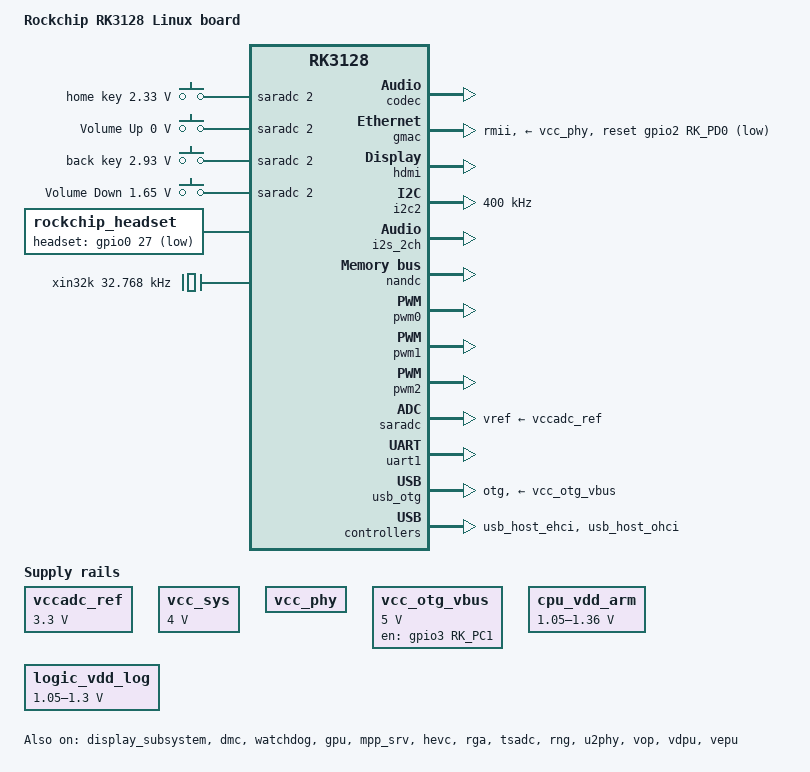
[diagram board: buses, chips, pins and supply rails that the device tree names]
// SPDX-License-Identifier: (GPL-2.0+ OR MIT)
/*
 * Copyright (c) 2019 Fuzhou Rockchip Electronics Co., Ltd
 */

/dts-v1/;
#include <dt-bindings/gpio/gpio.h>
#include <dt-bindings/input/input.h>
#include <dt-bindings/pinctrl/rockchip.h>
#include <dt-bindings/pwm/pwm.h>
#include <dt-bindings/sensor-dev.h>
#include "rk3128.dtsi"
#include "rk312x-android.dtsi"

/ {
	model = "Rockchip RK3128 Linux board";
	compatible = "rockchip,rk3128";

	chosen {
		stdout-path = "serial1:115200n8";
	};

	fiq-debugger {
		status = "disabled";
	};

	adc-keys {
		compatible = "adc-keys";
		io-channels = <&saradc 2>;
		io-channel-names = "buttons";
		poll-interval = <100>;
		keyup-threshold-microvolt = <3300000>;

		home-key{
			label = "home key";
			linux,code = <KEY_HOMEPAGE>;
			press-threshold-microvolt = <2330000>;
		};

		button-up {
			label = "Volume Up";
			linux,code = <KEY_VOLUMEUP>;
			press-threshold-microvolt = <0>;
		};

		back-key{
			label = "back key";
			linux,code = <KEY_BACK>;
			press-threshold-microvolt = <2930000>;
		};
		button-down {
			label = "Volume Down";
			linux,code = <KEY_VOLUMEDOWN>;
			press-threshold-microvolt = <1650000>;
		};
	};

	rockchip_headset {
		compatible = "rockchip_headset";
		headset_gpio = <&gpio0 27 GPIO_ACTIVE_LOW>;
	};

	sound {
		compatible = "simple-audio-card";
		simple-audio-card,format = "i2s";
		simple-audio-card,mclk-fs = <256>;
		simple-audio-card,name = "rockchip,rk312x";
		simple-audio-card,cpu {
			sound-dai = <&i2s_2ch>;
		};
		simple-audio-card,codec {
			sound-dai = <&codec>;
		};
	};

	vccadc_ref: vccadc-ref {
		compatible = "regulator-fixed";
		regulator-name = "SARADC_AVDD33";
		regulator-always-on;
		regulator-boot-on;
		regulator-min-microvolt = <3300000>;
		regulator-max-microvolt = <3300000>;
	};

	vcc_sys: vcc-sys {
		compatible = "regulator-fixed";
		regulator-name = "vcc_sys";
		regulator-min-microvolt = <4000000>;
		regulator-max-microvolt = <4000000>;
		regulator-always-on;
	};

	vcc_phy: vcc-phy-regulator {
		compatible = "regulator-fixed";
		regulator-name = "vcc_phy";
		regulator-always-on;
		regulator-boot-on;
	};

	vcc_otg_vbus: otg-vbus-regulator {
		compatible = "regulator-fixed";
		regulator-name = "vcc_otg_vbus";
		regulator-min-microvolt = <5000000>;
		regulator-max-microvolt = <5000000>;
		enable-active-high;
		gpio = <&gpio3 RK_PC1 GPIO_ACTIVE_HIGH>;
		pinctrl-names = "default";
		pinctrl-0 = <&otg_vbus_drv>;
	};

	/*
	 * This board follows the RK322x-style power tree for the CPU/GPU
	 * rails: both are driven directly from PWM regulators, not an RK816.
	 */
	cpu_vdd_arm: vdd-arm-regulator {
		compatible = "pwm-regulator";
		rockchip,pwm_id = <1>;
		regulator-init-microvolt = <1200000>;
		regulator-early-min-microvolt = <1200000>;
		pwms = <&pwm1 0 25000 1>;
		regulator-name = "vdd_arm";
		regulator-min-microvolt = <1050000>;
		regulator-max-microvolt = <1360000>;
		regulator-ramp-delay = <12500>;
		regulator-settling-time-up-us = <250>;
		regulator-always-on;
		regulator-boot-on;
	};

	logic_vdd_log: vdd-log-regulator {
		compatible = "pwm-regulator";
		rockchip,pwm_id = <2>;
		rockchip,pwm_voltage = <1200000>;
		pwms = <&pwm2 0 25000 1>;
		regulator-name = "vdd_log";
		regulator-min-microvolt = <1050000>;
		regulator-max-microvolt = <1300000>;
		regulator-ramp-delay = <12500>;
		regulator-settling-time-up-us = <250>;
		regulator-always-on;
		regulator-boot-on;
	};
	
	xin32k: xin32k {
		compatible = "fixed-clock";
		clock-frequency = <32768>;
		clock-output-names = "xin32k";
		#clock-cells = <0>;
	};

	wireless-bluetooth {
		compatible = "bluetooth-platdata";

		uart_rts-gpios = <&gpio1 11 GPIO_ACTIVE_LOW>; /* GPIO1_B3 */
		pinctrl-names = "default","rts_gpio";
		pinctrl-0 = <&uart1_rts>;
		pinctrl-1 = <&uart1_rts_gpio>;
		BT,reset-gpios = <&gpio0 1 GPIO_ACTIVE_HIGH>; /* GPIO2_B1 */
		status = "disabled";
	};

};

&codec {
	#sound-dai-cells = <0>;
	spk-ctl-gpios = <&gpio2 9 GPIO_ACTIVE_HIGH>;
	spk-mute-delay = <200>;
	hp-mute-delay = <100>;
	is_rk3128 = <1>;
	spk_volume = <25>;
	hp_volume = <25>;
	capture_volume = <26>;
	gpio_debug = <1>;
	codec_hp_det = <0>;
	status = "okay";
};

&cpu0 {
	cpu-supply = <&cpu_vdd_arm>;
	clock-frequency = <1200000000>;
};

&cpu1 {
	clock-frequency = <1200000000>;
};

&cpu2 {
	clock-frequency = <1200000000>;
};

&cpu3 {
	clock-frequency = <1200000000>;
};

/*
 * Keep the RK3128 board's CPU DVFS table local to this DTS so the
 * frequencies and voltages stay aligned with the board's PWM CPU rail.
 * Keep this board on fixed, non-binned voltages and keep the low
 * frequency states above the RK3128 datasheet minimum.
 */
&cpu0_opp_table {
	/delete-property/ rockchip,leakage-scaling-sel;
	/delete-property/ rockchip,leakage-voltage-sel;

	/delete-node/ opp-696000000;

	opp-216000000 {
		opp-microvolt = <1050000 1050000 1360000>;
		opp-microvolt-L0 = <1050000 1050000 1360000>;
		opp-microvolt-L1 = <1050000 1050000 1360000>;
		opp-microvolt-L2 = <1050000 1050000 1360000>;
	};

	opp-408000000 {
		opp-microvolt = <1050000 1050000 1360000>;
		opp-microvolt-L0 = <1050000 1050000 1360000>;
		opp-microvolt-L1 = <1050000 1050000 1360000>;
		opp-microvolt-L2 = <1050000 1050000 1360000>;
	};

	opp-600000000 {
		opp-microvolt = <1100000 1100000 1360000>;
		opp-microvolt-L0 = <1100000 1100000 1360000>;
		opp-microvolt-L1 = <1100000 1100000 1360000>;
		opp-microvolt-L2 = <1100000 1100000 1360000>;
	};

	opp-816000000 {
		opp-microvolt = <1200000 1200000 1360000>;
		opp-microvolt-L0 = <1200000 1200000 1360000>;
		opp-microvolt-L1 = <1200000 1200000 1360000>;
		opp-microvolt-L2 = <1200000 1200000 1360000>;
	};

	opp-1008000000 {
		opp-microvolt = <1200000 1200000 1360000>;
		opp-microvolt-L0 = <1200000 1200000 1360000>;
		opp-microvolt-L1 = <1200000 1200000 1360000>;
		opp-microvolt-L2 = <1200000 1200000 1360000>;
	};

	opp-1200000000 {
		opp-microvolt = <1350000 1350000 1360000>;
		opp-microvolt-L0 = <1350000 1350000 1360000>;
		opp-microvolt-L1 = <1350000 1350000 1360000>;
		opp-microvolt-L2 = <1350000 1350000 1360000>;
	};

};

/*
 * Avoid fixed CMA address from rk312x-android.dtsi which can overlap initrd
 * (seen as bad_page during free_initrd). Let kernel place CMA dynamically.
 *
 * Keep the base board DTB lean for headless/server use. Larger CMA pools for
 * video/display experiments should be enabled through an overlay instead.
 */
&cma_region {
	/delete-property/ reg;
	size = <0x01000000>;
	alignment = <0x2000>;
	linux,cma-default;
};

&cif_new {
	status = "disabled";
};

&display_subsystem {
	/delete-property/ logo-memory-region;
	status = "okay";

	route {
		route_hdmi: route-hdmi {
			status = "okay";
			logo,uboot = "logo.bmp";
			logo,kernel = "logo_kernel.bmp";
			logo,mode = "center";
			charge_logo,mode = "center";
			connect = <&vop_out_hdmi>;
		};
	};
};

&dmc {
	center-supply = <&logic_vdd_log>;
	status = "okay";
};

&emmc {
	bus-width = <8>;
	cap-mmc-highspeed;
	supports-emmc;
	disable-wp;
	non-removable;
	no-sd;
	no-sdio;
	num-slots = <1>;
	pinctrl-names = "default";
	pinctrl-0 = <&emmc_clk &emmc_cmd &emmc_bus8>;
	status = "disabled";
};

&watchdog {
	status = "okay";
};

&gmac {
	assigned-clocks = <&cru SCLK_MAC_SRC>;
	assigned-clock-rates = <50000000>;
	clock_in_out = "output";
	max-speed = <100>;
	pinctrl-names = "default";
	pinctrl-0 = <&rmii_pins>;
	phy-supply = <&vcc_phy>;
	phy-mode = "rmii";
	snps,reset-active-low;
	snps,reset-delays-us = <0 10000 50000>;
	snps,reset-gpio = <&gpio2 RK_PD0 GPIO_ACTIVE_LOW>;
	tx_delay = <0>;
	rx_delay = <0>;
	status = "okay";
};

/*
 * Keep this generic TV-box DTB portable across RK3128 boards whose external
 * RMII PHYs are strapped to different MDIO addresses.  Without an explicit
 * phy-handle or MDIO child, stmmac scans the bus and attaches the first PHY it
 * finds, matching the behavior of the working 4.4 kernel DTB.
 */
/delete-node/ &mdio;

&gpu {
	status = "okay";
	mali-supply = <&logic_vdd_log>;
};

/*
 * The shared logic PWM rail on this board bottoms out at 1.05V, so keep the
 * lowest GPU OPP aligned with that floor to avoid rejecting the 200MHz state
 * during OPP/regulator validation.
 */
&gpu_opp_table {
	opp-200000000 {
		opp-microvolt = <1050000>;
	};
};

&hdmi {
	#sound-dai-cells = <0>;
	rockchip,format = "i2s";
	status = "okay";
};

&mpp_srv {
	status = "okay";
};

&hevc {
	status = "okay";
};

&hevc_mmu {
	status = "okay";
};

&i2c2 {
	status = "okay";
	clock-frequency = <400000>;

	gc0312@21 {
		status = "disabled";
		compatible = "galaxycore,gc0312";
		reg = <0x21>;

		clocks = <&cru SCLK_CIF_OUT>;
		clock-names = "xvclk";

		avdd-supply = <&vcc28_cif>;
		dovdd-supply = <&vcc18_cif>;
		dvdd-supply = <&vcc18_cif>;

		pwdn-gpios = <&gpio3 RK_PB3 GPIO_ACTIVE_HIGH>;
		pwndpmu-supply = <&ldo4>;
	};

	gc2145@3c {
		status = "disabled";
		compatible = "galaxycore,gc2145";
		reg = <0x3c>;

		clocks = <&cru SCLK_CIF_OUT>;
		clock-names = "xvclk";

		avdd-supply = <&vcc28_cif>;
		dovdd-supply = <&vcc18_cif>;
		dvdd-supply = <&vcc18_cif>;
	};

	ts@40 {
		compatible = "gslX680-d708";
		reg = <0x40>;
		touch-gpio = <&gpio0 2 IRQ_TYPE_LEVEL_HIGH>;
		screen_max_x = <800>;
		screen_max_y = <480>;
		revert_x = <1>;
		status = "disabled";
	};
	sensor7660@1d {
		compatible = "gs_sc7660";
		reg = <0x1d>;
		type = <SENSOR_TYPE_ACCEL>;
		irq_enable = <0>;
		poll_delay_ms = <30>;
		layout = <7>;
		revert_x = <0>;
		revert_y = <0>;
		revert_z = <0>;
		status = "disabled";
	};

	sensor7a20@19 {
		compatible = "gs_sc7a20";
		reg = <0x19>;
		type = <SENSOR_TYPE_ACCEL>;
		irq_enable = <0>;
		poll_delay_ms = <30>;
		layout = <7>;
		revert_x = <0>;
		revert_y = <0>;
		revert_z = <0>;
		status = "disabled";
	};

	rk816: pmic@1a {
		compatible = "rockchip,rk816";
		reg = <0x1a>;
		status = "disabled";
		interrupt-parent = <&gpio0>;
		interrupts = <0 IRQ_TYPE_LEVEL_LOW>;
		pinctrl-names = "default";
		pinctrl-0 = <&pmic_int_l>;
		rockchip,system-power-controller;
		wakeup-source;
		gpio-controller;
		#gpio-cells = <2>;
		#clock-cells = <1>;
		clock-output-names = "rk816-clkout1", "rk816-clkout2";
		extcon = <&u2phy>;

		vcc1-supply = <&vcc_sys>;
		vcc2-supply = <&vcc_sys>;
		vcc3-supply = <&vcc_sys>;
		vcc4-supply = <&vcc_sys>;
		vcc5-supply = <&vcc_io>;
		vcc6-supply = <&vcc_sys>;

		gpio {
			status = "okay";
		};

		pwrkey {
			status = "okay";
		};

		rtc {
			status = "okay";
		};

		battery {
			compatible = "rk816-battery";
			ocv_table = < 3500 3625 3685 3697 3718 3735 3748
					3760 3774 3788 3802 3816 3834 3853
					3877 3908 3946 3975 4018 4071 4106>;
			design_capacity = <2500>;
			design_qmax = <2750>;
			bat_res = <100>;
			max_input_current = <1500>;
			max_chrg_current = <1300>;
			max_chrg_voltage = <4200>;
			sleep_enter_current = <300>;
			sleep_exit_current = <300>;
			sleep_filter_current = <100>;
			power_off_thresd = <3500>;
			zero_algorithm_vol = <3850>;
			max_soc_offset = <60>;
			monitor_sec = <5>;
			virtual_power = <0>;
			power_dc2otg = <0>;
			dc_det_adc = <0>;
		};

		regulators {

			vdd_arm: DCDC_REG1{
				regulator-name= "vdd_arm";
				regulator-min-microvolt = <750000>;
				regulator-max-microvolt = <1500000>;
				regulator-ramp-delay = <6001>;
				regulator-initial-mode = <1>;
				regulator-always-on;
				regulator-boot-on;
				regulator-state-mem {
					regulator-off-in-suspend;
					regulator-suspend-microvolt = <900000>;
				};
			};

			vdd_log: DCDC_REG2 {
				regulator-name= "vdd_logic";
				regulator-min-microvolt = <750000>;
				regulator-max-microvolt = <1500000>;
				regulator-ramp-delay = <6001>;
				regulator-initial-mode = <1>;
				regulator-always-on;
				regulator-boot-on;
				regulator-state-mem {
					regulator-on-in-suspend;
					regulator-suspend-microvolt = <1000000>;
				};
			};

			vcc_ddr: DCDC_REG3 {
				regulator-name = "vcc_ddr";
				regulator-always-on;
				regulator-boot-on;
				regulator-initial-mode = <1>;
			};

			vcc_io: DCDC_REG4 {
				regulator-name = "vcc_io";
				regulator-min-microvolt = <3300000>;
				regulator-max-microvolt = <3300000>;
				regulator-initial-mode = <1>;
				regulator-always-on;
				regulator-boot-on;
				regulator-state-mem {
					regulator-on-in-suspend;
					regulator-suspend-microvolt = <3000000>;
				};
			};

			vcc28_cif: LDO_REG1 {
				regulator-name = "vcc28_cif";
				regulator-min-microvolt = <2800000>;
				regulator-max-microvolt = <2800000>;
				regulator-always-on;
				regulator-boot-on;
				regulator-state-mem {
					regulator-off-in-suspend;
				};
			};

			vcc18_cif: LDO_REG2 {
				regulator-name = "vcc18_cif";
				regulator-min-microvolt = <1800000>;
				regulator-max-microvolt = <1800000>;
				regulator-always-on;
				regulator-boot-on;
				regulator-state-mem {
					regulator-off-in-suspend;
				};
			};

			vdd_11: LDO_REG3 {
				regulator-name = "vdd_11";
				regulator-min-microvolt = <1100000>;
				regulator-max-microvolt = <1100000>;
				regulator-always-on;
				regulator-boot-on;
				regulator-state-mem {
					regulator-on-in-suspend;
					regulator-suspend-microvolt = <1100000>;
				};
			};

			ldo4: LDO_REG4 {
				regulator-name= "ldo4";
				regulator-min-microvolt = <3000000>;
				regulator-max-microvolt = <3000000>;
				regulator-state-mem {
					regulator-off-in-suspend;
				};
			};

			ldo5: LDO_REG5 {
				regulator-name= "ldo5";
				regulator-min-microvolt = <3000000>;
				regulator-max-microvolt = <3000000>;
				regulator-always-on;
				regulator-boot-on;
				regulator-state-mem {
					regulator-on-in-suspend;
				};
			};

			ldo6: LDO_REG6 {
				regulator-name= "ldo6";
				regulator-min-microvolt = <3300000>;
				regulator-max-microvolt = <3300000>;
				regulator-state-mem {
					regulator-on-in-suspend;
					regulator-suspend-microvolt = <3300000>;
				};
			};
		};
	};
};

&i2s_2ch {
	#sound-dai-cells = <0>;
	status = "okay";
};

&iep {
	status = "disabled";
};

&iep_mmu {
	status = "disabled";
};

&nandc {
	status = "okay";
};

&pinctrl {
	pmic {
		pmic_int_l: pmic-int-l {
			rockchip,pins =
				<0 RK_PA0 RK_FUNC_GPIO &pcfg_pull_default>;
		};
	};

	usb {
		otg_vbus_drv: otg-vbus-drv {
			rockchip,pins =
				<3 RK_PC1 RK_FUNC_GPIO &pcfg_pull_none>;
		};
	};

	wireless-bluetooth {
		uart1_rts_gpio: uart1-rts-gpio {
			rockchip,pins = <1 RK_PB3 RK_FUNC_GPIO &pcfg_pull_none>;
		};
	};

};

&pwm0 {
	status = "okay";
};

&pwm1 {
	status = "okay";
};

&pwm2 {
	status = "okay";
};

&rga {
	status = "okay";
};

&saradc {
	status = "okay";
	vref-supply = <&vccadc_ref>;
};

&sdmmc {
	/*
	 * This TV box only works reliably with SDMMC in PIO mode.
	 * Remove the inherited DMA bindings in the base DT so bootloader
	 * overlays do not need property deletion support.
	 */
	/delete-property/ dmas;
	/delete-property/ dma-names;
	status = "disabled";
};

&sdio {
	max-frequency = <37500000>;
	cap-sd-highspeed;
	cap-sdio-irq;
	supports-sdio;
	disable-wp;
	ignore-pm-notify;
	keep-power-in-suspend;
	pinctrl-names = "default";
	pinctrl-0 = <&sdio_cmd &sdio_clk &sdio_bus4>;
	non-removable;
	/* vmmc-supply = <&ldo5>; */
	status = "disabled";
};

&tsadc {
	status = "okay";
};

&rockchip_system_monitor {
	rockchip,thermal-zone = "soc-thermal";
};

&rng {
	status = "okay";
};

&u2phy {
	status = "okay";

	u2phy_otg: otg-port {
		vbus-supply = <&vcc_otg_vbus>;
		status = "okay";
	};

	u2phy_host: host-port {
		status = "okay";
	};
};

&uart1 {
	pinctrl-names = "default";
	pinctrl-0 = <&uart1_xfer &uart1_cts>;
	status = "okay";
};

&usb_otg {
	dr_mode = "otg";
	vbus-supply = <&vcc_otg_vbus>;
	status = "okay";
};

&usb_host_ehci {
	status = "okay";
};

&usb_host_ohci {
	status = "okay";
};

&vop {
	rockchip,grf = <&grf>;
	status = "okay";
};

&vop_mmu {
	status = "okay";
};

&vdpu {
	status = "okay";
};

&vepu {
	status = "okay";
};

&vpu_mmu {
	status = "okay";
};
